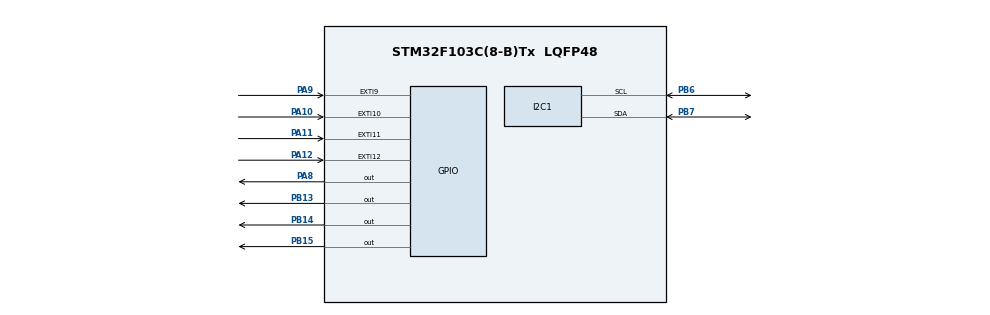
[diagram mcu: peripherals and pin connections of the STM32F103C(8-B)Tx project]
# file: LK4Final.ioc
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Mcu.Family=STM32F1
Mcu.Name=STM32F103C(8-B)Tx
Mcu.Package=LQFP48
NVIC.EXTI15_10_IRQn=true\:0\:0\:false\:false\:true\:true\:true\:true
NVIC.EXTI9_5_IRQn=true\:0\:0\:false\:false\:true\:true\:true\:true
NVIC.PriorityGroup=NVIC_PRIORITYGROUP_4
PA10.Signal=GPXTI10
PA11.Signal=GPXTI11
PA12.Signal=GPXTI12
PA13.Mode=Serial_Wire
PA13.Signal=SYS_JTMS-SWDIO
PA14.Mode=Serial_Wire
PA14.Signal=SYS_JTCK-SWCLK
PA8.Signal=GPIO_Output
PA9.Signal=GPXTI9
PB13.Signal=GPIO_Output
PB14.Signal=GPIO_Output
PB15.Signal=GPIO_Output
PB6.Mode=I2C
PB6.Signal=I2C1_SCL
PB7.Mode=I2C
PB7.Signal=I2C1_SDA
ProjectManager.HeapSize=0x200
ProjectManager.StackSize=0x400
ProjectManager.TargetToolchain=MDK-ARM V5.32
RCC.APB1Freq_Value=8000000
RCC.APB2Freq_Value=8000000
board=custom

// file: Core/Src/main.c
/* USER CODE BEGIN Header */
/**
  ******************************************************************************
  * @file           : main.c
  * @brief          : Main program body
  ******************************************************************************
  * @attention
  *
  * Copyright (c) 2025 STMicroelectronics.
  * All rights reserved.
  *
  * This software is licensed under terms that can be found in the LICENSE file
  * in the root directory of this software component.
  * If no LICENSE file comes with this software, it is provided AS-IS.
  *
  ******************************************************************************
  */
/* USER CODE END Header */
#include "main.h"

/* USER CODE BEGIN Includes */
#include "stdio.h"

#include "liquidcrystal_i2c.h"
/* USER CODE END Includes */

I2C_HandleTypeDef hi2c1;

/* USER CODE BEGIN PV */
  GPIO_InitTypeDef GPIO_InitStructPrivate = {0};

  uint32_t previousMillis = 0;

  uint32_t currentMillis = 0;

  uint8_t keyPressed = 0;
/* USER CODE END PV */

void SystemClock_Config(void);
static void MX_GPIO_Init(void);
static void MX_I2C1_Init(void);

int main(void)
{

  /* MCU Configuration--------------------------------------------------------*/

  /* Reset of all peripherals, Initializes the Flash interface and the Systick. */
  HAL_Init();

  /* Configure the system clock */
  SystemClock_Config();

  /* Initialize all configured peripherals */
  MX_GPIO_Init();
  MX_I2C1_Init();
  /* USER CODE BEGIN 2 */
	  HAL_GPIO_WritePin(GPIOB, GPIO_PIN_13, 1);

  HAL_GPIO_WritePin(GPIOB, GPIO_PIN_14, 1);

  HAL_GPIO_WritePin(GPIOB, GPIO_PIN_15, 1);

  HAL_GPIO_WritePin(GPIOA, GPIO_PIN_8, 1);
  /* USER CODE END 2 */

  /* Infinite loop */
  /* USER CODE BEGIN WHILE */
	  char snum[5];
  while (1)
  {
    /* USER CODE END WHILE */
sprintf(snum,"%d",keyPressed);

		HD44780_SetCursor(0,0);

		HD44780_PrintStr("Input ASCII");

		HD44780_SetCursor(10,1);

    HD44780_PrintStr(snum);

		HAL_Delay (3000);

		HD44780_Clear();

		HD44780_SetCursor(0,0);

		HD44780_PrintStr("Taking New Value");

		HAL_Delay (3000);

		HD44780_Clear();
  }
}

void SystemClock_Config(void)
{
  RCC_OscInitTypeDef RCC_OscInitStruct = {0};
  RCC_ClkInitTypeDef RCC_ClkInitStruct = {0};

  /** Initializes the RCC Oscillators according to the specified parameters
  * in the RCC_OscInitTypeDef structure.
  */
  RCC_OscInitStruct.OscillatorType = RCC_OSCILLATORTYPE_HSI;
  RCC_OscInitStruct.HSIState = RCC_HSI_ON;
  RCC_OscInitStruct.HSICalibrationValue = RCC_HSICALIBRATION_DEFAULT;
  RCC_OscInitStruct.PLL.PLLState = RCC_PLL_NONE;
  if (HAL_RCC_OscConfig(&RCC_OscInitStruct) != HAL_OK)
  {
    Error_Handler();
  }

  /** Initializes the CPU, AHB and APB buses clocks
  */
  RCC_ClkInitStruct.ClockType = RCC_CLOCKTYPE_HCLK|RCC_CLOCKTYPE_SYSCLK
                              |RCC_CLOCKTYPE_PCLK1|RCC_CLOCKTYPE_PCLK2;
  RCC_ClkInitStruct.SYSCLKSource = RCC_SYSCLKSOURCE_HSI;
  RCC_ClkInitStruct.AHBCLKDivider = RCC_SYSCLK_DIV1;
  RCC_ClkInitStruct.APB1CLKDivider = RCC_HCLK_DIV1;
  RCC_ClkInitStruct.APB2CLKDivider = RCC_HCLK_DIV1;

  if (HAL_RCC_ClockConfig(&RCC_ClkInitStruct, FLASH_LATENCY_0) != HAL_OK)
  {
    Error_Handler();
  }
}

static void MX_I2C1_Init(void)
{

  hi2c1.Instance = I2C1;
  hi2c1.Init.ClockSpeed = 100000;
  hi2c1.Init.DutyCycle = I2C_DUTYCYCLE_2;
  hi2c1.Init.OwnAddress1 = 0;
  hi2c1.Init.AddressingMode = I2C_ADDRESSINGMODE_7BIT;
  hi2c1.Init.DualAddressMode = I2C_DUALADDRESS_DISABLE;
  hi2c1.Init.OwnAddress2 = 0;
  hi2c1.Init.GeneralCallMode = I2C_GENERALCALL_DISABLE;
  hi2c1.Init.NoStretchMode = I2C_NOSTRETCH_DISABLE;
  if (HAL_I2C_Init(&hi2c1) != HAL_OK)
  {
    Error_Handler();
  }

}

static void MX_GPIO_Init(void)
{
  GPIO_InitTypeDef GPIO_InitStruct = {0};

  /* GPIO Ports Clock Enable */
  __HAL_RCC_GPIOB_CLK_ENABLE();
  __HAL_RCC_GPIOA_CLK_ENABLE();

  /*Configure GPIO pin Output Level */
  HAL_GPIO_WritePin(GPIOB, GPIO_PIN_13|GPIO_PIN_14|GPIO_PIN_15, GPIO_PIN_RESET);

  /*Configure GPIO pin Output Level */
  HAL_GPIO_WritePin(GPIOA, GPIO_PIN_8, GPIO_PIN_RESET);

  /*Configure GPIO pins : PB13 PB14 PB15 */
  GPIO_InitStruct.Pin = GPIO_PIN_13|GPIO_PIN_14|GPIO_PIN_15;
  GPIO_InitStruct.Mode = GPIO_MODE_OUTPUT_PP;
  GPIO_InitStruct.Pull = GPIO_NOPULL;
  GPIO_InitStruct.Speed = GPIO_SPEED_FREQ_LOW;
  HAL_GPIO_Init(GPIOB, &GPIO_InitStruct);

  /*Configure GPIO pin : PA8 */
  GPIO_InitStruct.Pin = GPIO_PIN_8;
  GPIO_InitStruct.Mode = GPIO_MODE_OUTPUT_PP;
  GPIO_InitStruct.Pull = GPIO_NOPULL;
  GPIO_InitStruct.Speed = GPIO_SPEED_FREQ_LOW;
  HAL_GPIO_Init(GPIOA, &GPIO_InitStruct);

  /*Configure GPIO pins : PA9 PA10 PA11 PA12 */
  GPIO_InitStruct.Pin = GPIO_PIN_9|GPIO_PIN_10|GPIO_PIN_11|GPIO_PIN_12;
  GPIO_InitStruct.Mode = GPIO_MODE_IT_RISING;
  GPIO_InitStruct.Pull = GPIO_NOPULL;
  HAL_GPIO_Init(GPIOA, &GPIO_InitStruct);

  /* EXTI interrupt init*/
  HAL_NVIC_SetPriority(EXTI9_5_IRQn, 0, 0);
  HAL_NVIC_EnableIRQ(EXTI9_5_IRQn);

  HAL_NVIC_SetPriority(EXTI15_10_IRQn, 0, 0);
  HAL_NVIC_EnableIRQ(EXTI15_10_IRQn);

}

/* USER CODE BEGIN 4 */
void HAL_GPIO_EXTI_Callback(uint16_t GPIO_Pin)

{

  currentMillis = HAL_GetTick();

  if (currentMillis - previousMillis > 10) {

    /*Configure GPIO pins : PB6 PB7 PB8 PB9 to GPIO_INPUT*/

    GPIO_InitStructPrivate.Pin = GPIO_PIN_9|GPIO_PIN_10|GPIO_PIN_11|GPIO_PIN_12;

    GPIO_InitStructPrivate.Mode = GPIO_MODE_INPUT;

    GPIO_InitStructPrivate.Pull = GPIO_NOPULL;

    GPIO_InitStructPrivate.Speed = GPIO_SPEED_FREQ_LOW;

    HAL_GPIO_Init(GPIOA, &GPIO_InitStructPrivate);

    HAL_GPIO_WritePin(GPIOB, GPIO_PIN_13, 1);

    HAL_GPIO_WritePin(GPIOB, GPIO_PIN_14, 0);

    HAL_GPIO_WritePin(GPIOB, GPIO_PIN_15, 0);

    HAL_GPIO_WritePin(GPIOA, GPIO_PIN_8, 0);

    if(GPIO_Pin == GPIO_PIN_9 && HAL_GPIO_ReadPin(GPIOA, GPIO_PIN_9))

    {

      keyPressed = 68; //ASCII value of D

    }

    else if(GPIO_Pin == GPIO_PIN_10 && HAL_GPIO_ReadPin(GPIOA, GPIO_PIN_10))

    {

      keyPressed = 67; //ASCII value of C

    }

    else if(GPIO_Pin == GPIO_PIN_11 && HAL_GPIO_ReadPin(GPIOA, GPIO_PIN_11))

    {

      keyPressed = 66; //ASCII value of B

    }

    else if(GPIO_Pin == GPIO_PIN_12 && HAL_GPIO_ReadPin(GPIOA, GPIO_PIN_12))

    {

      keyPressed = 65; //ASCII value of A

    }

    HAL_GPIO_WritePin(GPIOB, GPIO_PIN_13, 0);

    HAL_GPIO_WritePin(GPIOB, GPIO_PIN_14, 1);

    HAL_GPIO_WritePin(GPIOB, GPIO_PIN_15, 0);

    HAL_GPIO_WritePin(GPIOA, GPIO_PIN_8, 0);

    if(GPIO_Pin == GPIO_PIN_9 && HAL_GPIO_ReadPin(GPIOA, GPIO_PIN_9))

    {

      keyPressed = 35; //ASCII value of #

    }

    else if(GPIO_Pin == GPIO_PIN_10 && HAL_GPIO_ReadPin(GPIOA, GPIO_PIN_10))

    {

      keyPressed = 57; //ASCII value of 9

    }

    else if(GPIO_Pin == GPIO_PIN_11 && HAL_GPIO_ReadPin(GPIOA, GPIO_PIN_11))

    {

      keyPressed = 54; //ASCII value of 6

    }

    else if(GPIO_Pin == GPIO_PIN_12 && HAL_GPIO_ReadPin(GPIOA, GPIO_PIN_12))

    {

      keyPressed = 51; //ASCII value of 3

    }

    HAL_GPIO_WritePin(GPIOB, GPIO_PIN_13, 0);

    HAL_GPIO_WritePin(GPIOB, GPIO_PIN_14, 0);

    HAL_GPIO_WritePin(GPIOB, GPIO_PIN_15, 1);

    HAL_GPIO_WritePin(GPIOA, GPIO_PIN_8, 0);

    if(GPIO_Pin == GPIO_PIN_9 && HAL_GPIO_ReadPin(GPIOA, GPIO_PIN_9))

    {

      keyPressed = 48; //ASCII value of 0

    }

    else if(GPIO_Pin == GPIO_PIN_10 && HAL_GPIO_ReadPin(GPIOA, GPIO_PIN_10))

    {

      keyPressed = 56; //ASCII value of 8

    }

    else if(GPIO_Pin == GPIO_PIN_11 && HAL_GPIO_ReadPin(GPIOA, GPIO_PIN_11))

    {

      keyPressed = 53; //ASCII value of 5

    }

    else if(GPIO_Pin == GPIO_PIN_12 && HAL_GPIO_ReadPin(GPIOA, GPIO_PIN_12))

    {

      keyPressed = 50; //ASCII value of 2

    }

    HAL_GPIO_WritePin(GPIOB, GPIO_PIN_13, 0);

    HAL_GPIO_WritePin(GPIOB, GPIO_PIN_14, 0);

    HAL_GPIO_WritePin(GPIOB, GPIO_PIN_15, 0);

    HAL_GPIO_WritePin(GPIOA, GPIO_PIN_8, 1);

    if(GPIO_Pin == GPIO_PIN_9 && HAL_GPIO_ReadPin(GPIOA, GPIO_PIN_9))

    {

      keyPressed = 42; //ASCII value of *

    }

    else if(GPIO_Pin == GPIO_PIN_10 && HAL_GPIO_ReadPin(GPIOA, GPIO_PIN_10))

    {

      keyPressed = 55; //ASCII value of 7

    }

    else if(GPIO_Pin == GPIO_PIN_11 && HAL_GPIO_ReadPin(GPIOA, GPIO_PIN_11))

    {

      keyPressed = 52; //ASCII value of 4

    }

    else if(GPIO_Pin == GPIO_PIN_12 && HAL_GPIO_ReadPin(GPIOA, GPIO_PIN_12))

    {

      keyPressed = 49; //ASCII value of 1

    }

    HAL_GPIO_WritePin(GPIOB, GPIO_PIN_13, 1);

    HAL_GPIO_WritePin(GPIOB, GPIO_PIN_14, 1);

    HAL_GPIO_WritePin(GPIOB, GPIO_PIN_15, 1);

    HAL_GPIO_WritePin(GPIOA, GPIO_PIN_8, 1);

    /*Configure GPIO pins : PB6 PB7 PB8 PB9 back to EXTI*/

    GPIO_InitStructPrivate.Mode = GPIO_MODE_IT_RISING;

    GPIO_InitStructPrivate.Pull = GPIO_PULLDOWN;

    HAL_GPIO_Init(GPIOA, &GPIO_InitStructPrivate);

    previousMillis = currentMillis;

  }

}
/* USER CODE END 4 */

void Error_Handler(void)
{
  __disable_irq();
  while (1)
  {
  }
}
